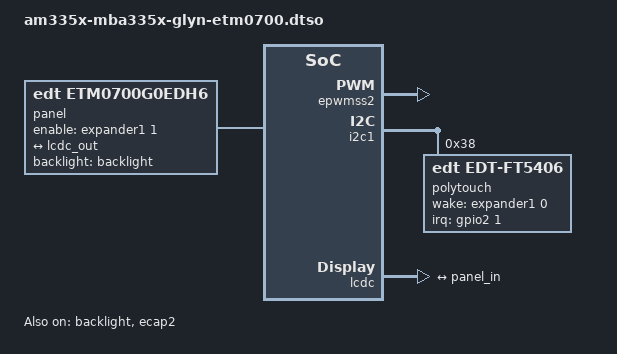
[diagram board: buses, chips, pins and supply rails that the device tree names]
// SPDX-License-Identifier: GPL-2.0-only
/*
 * Copyright (c) 2021-2025 TQ-Systems GmbH <linux@ew.tq-group.com>, D-82229 Seefeld, Germany.
 * Author: Matthias Schiffer
 *
 * Based on:
 * Copyright (C) 2012 Texas Instruments Incorporated - http://www.ti.com/
 */

/dts-v1/;
/plugin/;

#include <dt-bindings/gpio/gpio.h>
#include <dt-bindings/interrupt-controller/irq.h>
#include <dt-bindings/pwm/pwm.h>

&{/} {
	panel {
		compatible = "edt,etm0700g0edh6";
		backlight = <&backlight>;
		enable-gpios = <&expander1 1 GPIO_ACTIVE_HIGH>;

		port {
			panel_in: endpoint {
				remote-endpoint = <&lcdc_out>;
			};
		};
	};
};

&backlight {
	pwms = <&ecap2 0 50000 PWM_POLARITY_INVERTED>;
	status = "okay";
};

/*
 * See also:
 * https://source.denx.de/u-boot/u-boot/-/commit/8c17cbdf8a8023abdd0009af4dc9dbc0541b4a0f
 */
&emif {
	ti,pr-count-cos1 = <0x14>;
	ti,pr-count-cos2 = <0x14>;
	ti,pr-count-old = <0x14>;
};

&epwmss2 {
	status = "okay";
};

&ecap2 {
	status = "okay";
};

&i2c1 {
	#address-cells = <1>;
	#size-cells = <0>;

	polytouch: touch@38 {
		compatible = "edt,edt-ft5406", "edt,edt-ft5x06";
		reg = <0x38>;
		pinctrl-names = "default";
		pinctrl-0 = <&polytouch_pins>;
		gain = <20>;
		interrupt-parent = <&gpio2>;
		interrupts = <1 IRQ_TYPE_EDGE_FALLING>;
		wake-gpios = <&expander1 0 0>;
	};
};

&lcdc {
	status = "okay";

	port {
		lcdc_out: endpoint {
			remote-endpoint = <&panel_in>;
		};
	};
};
